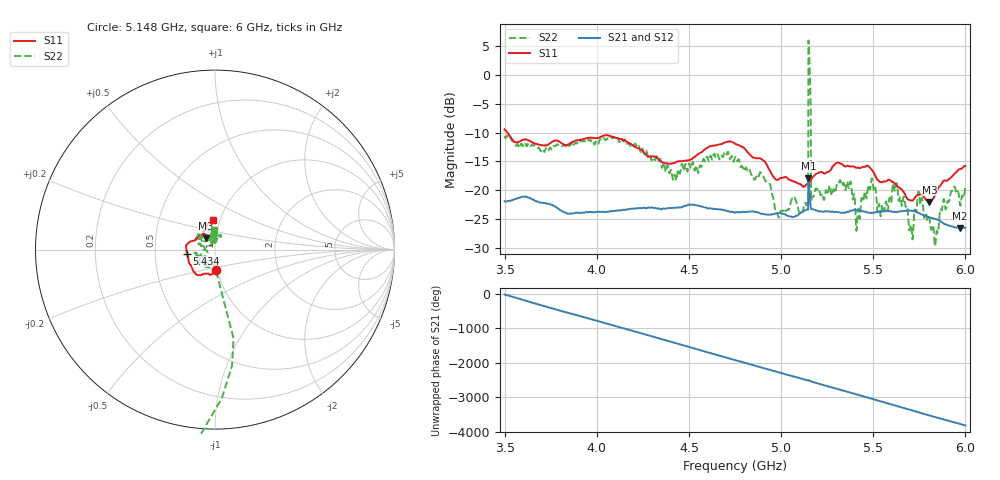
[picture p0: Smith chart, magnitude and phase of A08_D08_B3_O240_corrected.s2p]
! Created with skrf 1.9.0 (http://scikit-rf.org).
# Hz S RI R 50.0
!freq ReS11 ImS11 ReS21 ImS21 ReS12 ImS12 ReS22 ImS22
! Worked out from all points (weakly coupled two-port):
!   1601 points, 3.5 GHz to 6 GHz, reference 50 ohm
!   highest |S21| = -17.93 dB at 5.148 GHz (marker M1); lowest = -26.6 dB at 5.972 GHz (marker M2)
!   lowest |S11| = -22.1 dB at 5.805 GHz (marker M3), VSWR 1.17, Z = 45 + j5.62 ohm
!   |S11| at or under -10 dB: 3.515 GHz to end of sweep
!   |S22| runs from -29.7 to 6.0 dB; largest |S21 - S12| = 0.0011
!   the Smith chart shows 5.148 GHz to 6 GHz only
!   S11 on the Smith chart (normalised r, x): 5.148 GHz: 0.99, -0.23; 5.434 GHz: 0.73, -0.03; 6 GHz: 0.93, +0.31
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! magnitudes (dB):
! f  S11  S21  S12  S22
! 3.5 GHz  -9.5  -21.9  -21.9  -10.6
! 3.917 GHz  -11.2  -23.9  -23.9  -11.4
! 4.334 GHz  -14.6  -23.2  -23.2  -14.9
! 4.75 GHz  -11.9  -23.9  -23.9  -14.3
! 4.897 GHz  -14.7  -24.1  -24.1  -17.5
! 4.981 GHz  -18.2  -24.0  -24.0  -24.3
! 5.108 GHz  -19.0  -23.9  -23.9  -23.7
! 5.134 GHz  -19.1  -23.4  -23.4  -22.4
! 5.148 GHz  -18.8  -17.9  -18.0  6.0
! 5.161 GHz  -18.3  -22.8  -22.8  -5.9
! 5.167 GHz  -18.0  -23.3  -23.3  -21.3
! 5.175 GHz  -17.7  -23.3  -23.3  -21.2
! 5.367 GHz  -15.8  -23.7  -23.7  -19.7
! 5.434 GHz  -16.1  -23.6  -23.6  -21.9
! 5.486 GHz  -16.3  -24.0  -23.9  -19.3
! 5.584 GHz  -18.2  -23.7  -23.7  -22.1
! 5.62 GHz  -18.9  -23.8  -23.8  -19.9
! 5.706 GHz  -21.8  -23.6  -23.6  -26.3
! 5.753 GHz  -20.8  -24.1  -24.1  -22.0
! 5.805 GHz  -22.1  -24.7  -24.7  -24.9
! 5.972 GHz  -16.4  -26.6  -26.6  -22.6
! 6 GHz  -15.8  -26.5  -26.5  -19.4
